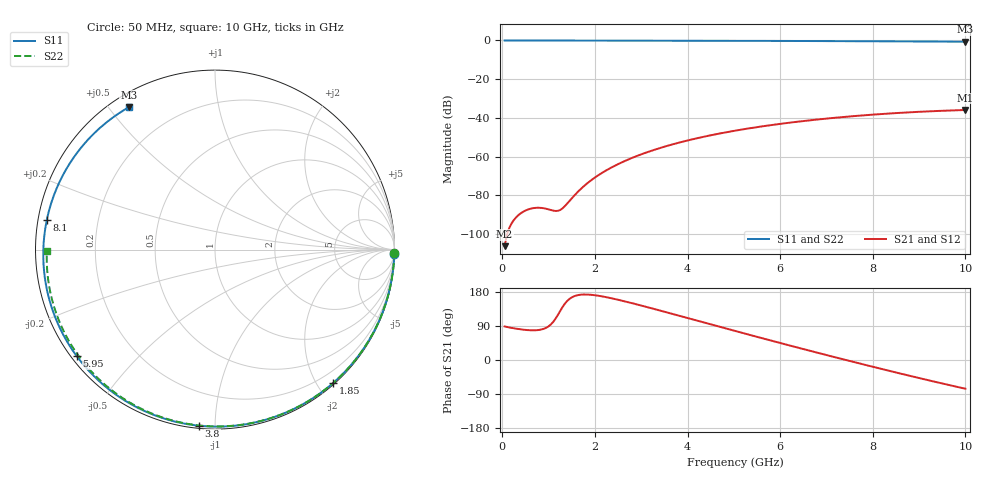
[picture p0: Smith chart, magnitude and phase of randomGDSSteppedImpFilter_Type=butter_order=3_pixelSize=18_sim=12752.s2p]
! freq	dB(S11)	phase(S11)	dB(S12)	phase(S12)
!  dB(S21)	phase(S21)	dB(S22)	phase(S22)
!S-par simulation data
#  GHz  S  DB  R 50
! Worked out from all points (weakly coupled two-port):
!   200 points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, 50 MHz to 10 GHz, reference 50 ohm
!   highest |S21| = -35.96 dB at 10 GHz (marker M1); lowest = -106.4 dB at 50 MHz (marker M2)
!   lowest |S11| = -0.7 dB at 10 GHz (marker M3), VSWR 26.52, Z = 2.48 + j28.1 ohm
!   |S11| at or under -10 dB: nowhere
!   |S22| runs from -0.6 to 0.0 dB; largest |S21 - S12| = 0
!   S11 on the Smith chart (normalised r, x): 50 MHz: 1, -88; 1.85 GHz: 0.02, -2.23; 3.8 GHz: 0.01, -0.91; 5.95 GHz: 0.02, -0.34; 8.1 GHz: 0.03, +0.09; 10 GHz: 0.05, +0.56
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0.05  -0.00 -1.3  -106.35 88.6  -106.35 88.6  -0.00 -1.0
0.75  -0.03 -19.9  -86.50 78.7  -86.50 78.7  -0.02 -15.8
1.15  -0.04 -30.4  -88.15 109.0  -88.15 109.0  -0.03 -24.2
1.55  -0.05 -40.7  -80.31 168.2  -80.31 168.2  -0.04 -32.4
1.75  -0.06 -45.8  -75.57 172.8  -75.57 172.8  -0.05 -36.5
1.85  -0.06 -48.4  -73.55 172.7  -73.55 172.7  -0.05 -38.5
2.15  -0.07 -55.9  -68.51 168.0  -68.51 168.0  -0.06 -44.5
2.5  -0.08 -64.5  -63.94 159.0  -63.94 159.0  -0.07 -51.5
2.9  -0.10 -74.1  -59.79 146.9  -59.79 146.9  -0.08 -59.3
3.4  -0.11 -85.9  -55.65 130.7  -55.65 130.7  -0.09 -68.8
3.8  -0.13 -95.1  -52.92 117.5  -52.92 117.5  -0.10 -76.2
4.4  -0.15 -108.6  -49.53 97.5  -49.53 97.5  -0.12 -87.1
5.05  -0.19 -122.9  -46.55 75.9  -46.55 75.9  -0.15 -98.5
5.95  -0.24 -142.4  -43.29 46.5  -43.29 46.5  -0.20 -113.7
6.7  -0.30 -158.6  -41.14 22.5  -41.14 22.5  -0.24 -126.0
7.4  -0.36 -174.1  -39.50 0.6  -39.50 0.6  -0.30 -137.3
8.1  -0.43 169.9  -38.18 -20.9  -38.18 -20.9  -0.36 -148.5
8.35  -0.46 163.9  -37.78 -28.4  -37.78 -28.4  -0.38 -152.5
8.75  -0.50 154.2  -37.20 -40.3  -37.20 -40.3  -0.42 -159.0
9.15  -0.55 144.1  -36.72 -52.0  -36.72 -52.0  -0.47 -165.5
9.55  -0.60 133.6  -36.31 -63.4  -36.31 -63.4  -0.51 -172.0
10  -0.66 121.2  -35.96 -75.8  -35.96 -75.8  -0.57 -179.6
